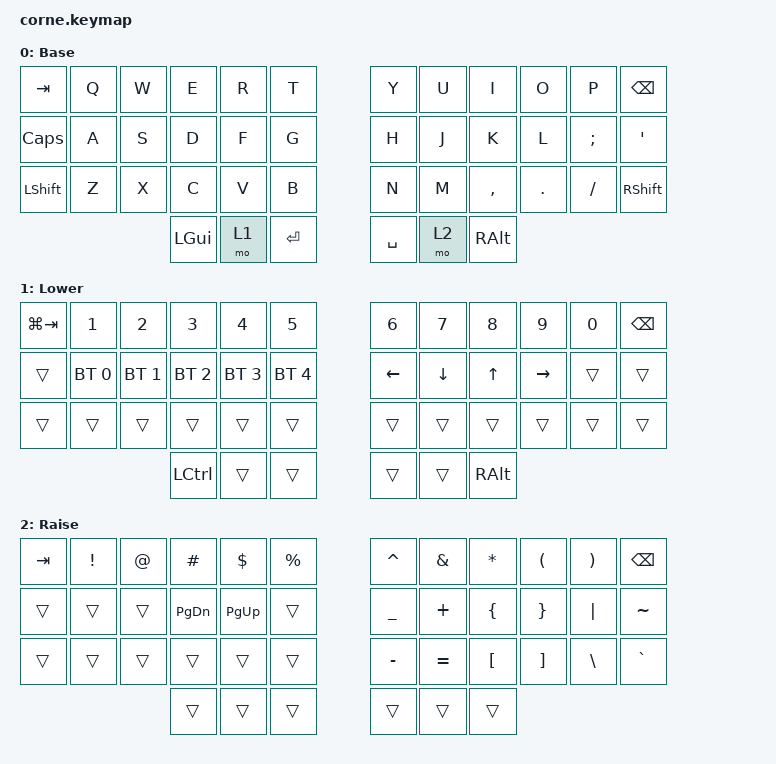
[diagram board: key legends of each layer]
/*
 * Copyright (c) 2020 The ZMK Contributors
 *
 * SPDX-License-Identifier: MIT
 */

#include <behaviors.dtsi>
#include <dt-bindings/zmk/bt.h>
#include <dt-bindings/zmk/keys.h>

/ {
    behaviors {
        hm: hm {
            compatible = "zmk,behavior-hold-tap";
            label = "HM";
            #binding-cells = <2>;

            flavor = "tap-preferred";
            tapping-term-ms = <200>;

            bindings = <&kp>, <&kp>;
        };
    };

    combos {
        compatible = "zmk,combos";

        combo_ctrl {
            timeout-ms = <100>;
            key-positions = <24 35>;
            bindings = <&kp LCTRL>;
        };
    };

    keymap {
        compatible = "zmk,keymap";

        default_layer {
            // -----------------------------------------------------------------------------------------
            // |  TAB |  Q  |  W  |  E  |  R  |  T  |   |  Y  |  U   |  I  |  O  |  P  | BKSP |
            // | CAPS |  A  |  S  |  D  |  F  |  G  |   |  H  |  J   |  K  |  L  |  ;  |  '   |
            // | SHFT |  Z  |  X  |  C  |  V  |  B  |   |  N  |  M   |  ,  |  .  |  /  | SHFT  |
            //              x      | GUI | LWR | ENT |   | SPC | RSE  | ALT |

            display-name = "Base";
            bindings = <
&kp TAB    &kp Q  &kp W  &kp E     &kp R  &kp T        &kp Y      &kp U  &kp I      &kp O    &kp P     &kp BSPC
//&kp CAPS   &kp A  &hm LCTRL S  &hm LALT D     &hm LGUI F  &kp G   &kp H      &hm RGUI J  &hm RALT K      &hm RCTRL L    &kp SEMI  &kp SQT
&kp CAPS   &kp A  &kp S  &kp D     &kp F  &kp G        &kp H      &kp J  &kp K      &kp L    &kp SEMI  &kp SQT
&kp LSHFT  &kp Z  &kp X  &kp C  &kp V  &kp B        &kp N      &kp M  &kp COMMA  &kp DOT  &kp FSLH  &kp RIGHT_SHIFT
                         &kp LGUI  &mo 1  &kp ENTER    &kp SPACE  &mo 2  &kp RALT
            >;
        };

        lower_layer {
            // -----------------------------------------------------------------------------------------
            // |  TAB |  1  |  2  |  3  |  4  |  5  |   |  6  |  7  |  8  |  9  |  0  | BKSP |
            // | CAPS| BT1 | BT2 | BT3 | BT4 | BT5 |   | LFT | DWN |  UP | RGT |     |      |
            // |     |     |     |     |     |     |   |     |     |     |     |     |      |
            //                    | GUI |     | SPC |   | ENT |     | ALT |

            display-name = "Lower";
            bindings = <
&kp LG(TAB)   &kp N1        &kp N2        &kp N3        &kp N4        &kp N5          &kp N6    &kp N7    &kp N8    &kp N9     &kp N0  &kp BSPC
&trans  &bt BT_SEL 0  &bt BT_SEL 1  &bt BT_SEL 2  &bt BT_SEL 3  &bt BT_SEL 4    &kp LEFT  &kp DOWN  &kp UP    &kp RIGHT  &trans  &trans
&trans     &trans        &trans        &trans        &trans        &trans          &trans    &trans    &trans    &trans     &trans  &trans
                                          &kp LCTRL      &trans        &trans          &trans    &trans    &kp RALT
            >;
        };

        raise_layer {
            // -----------------------------------------------------------------------------------------
            // |  TAB |  !  |  @  |  #  |  $  |  %  |   |  ^  |  &  |  *  |  (  |  )  | BKSP |
            // |      |     |     | PG_DN | PG_UP |     |   |  -  |  =  |  [  |  ]  |  \  |  `   |
            // |      |     |     |     |     |     |   |  _  |  +  |  {  |  }  | "|" |  ~   |
            //                    | GUI |     | ENT |   | SPC |     | CTRL |

            display-name = "Raise";
            bindings = <
&kp TAB  &kp EXCL  &kp AT  &kp HASH   &kp DLLR   &kp PRCNT    &kp CARET   &kp AMPS   &kp ASTERISK   &kp LPAR  &kp RPAR  &kp BSPC
&trans   &trans    &trans  &kp PG_DN  &kp PG_UP  &trans       &kp UNDER   &kp PLUS   &kp LBRC       &kp RBRC  &kp PIPE  &kp TILDE
&trans   &trans    &trans  &trans     &trans     &trans       &kp MINUS   &kp EQUAL  &kp LBKT       &kp RBKT  &kp BSLH  &kp GRAVE
                           &trans     &trans     &trans       &trans      &trans     &trans
            >;
        };

        extra_1 { status = "reserved"; };

        extra_2 { status = "reserved"; };

        extra_3 { status = "reserved"; };
    };
};
